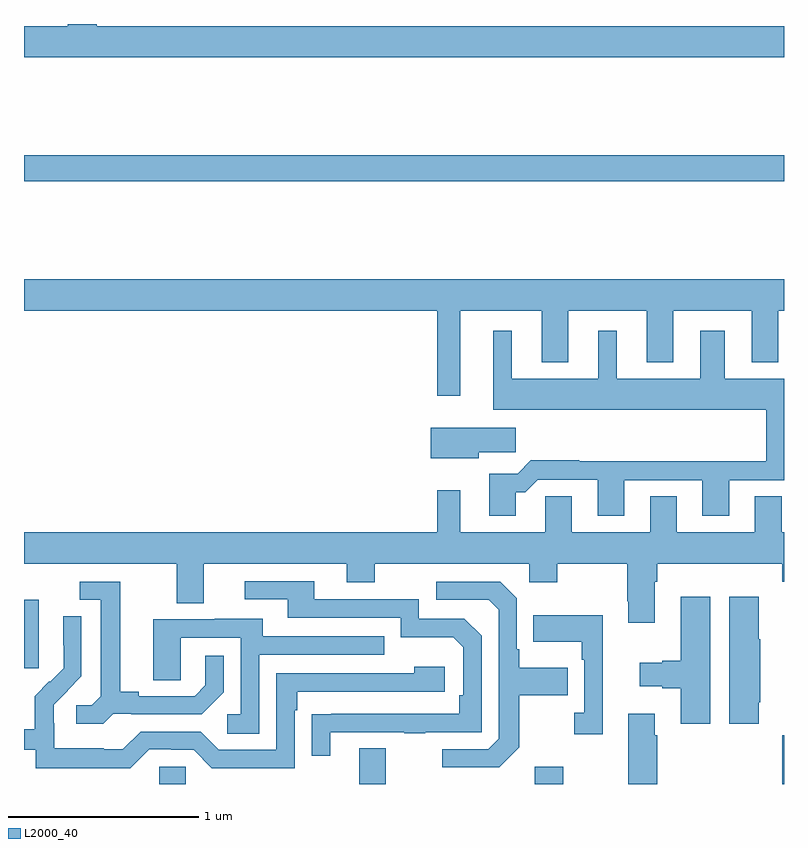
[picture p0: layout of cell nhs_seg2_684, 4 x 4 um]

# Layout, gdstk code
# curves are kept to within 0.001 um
import gdstk
lib = gdstk.Library(unit=1e-6, precision=1e-09)
def R(c, l, rs):  # rectangles x0, y0, x1, y1
    for r in rs: c.add(gdstk.rectangle(r[:2], r[2:], *l))
def P(c, l, *ps):  # polygons
    for p in ps: c.add(gdstk.Polygon(p, *l))
L2000_40 = (2000, 40)

nhs_seg2_684 = lib.new_cell('nhs_seg2_684')
R(nhs_seg2_684, L2000_40, [(145.713,655.8,145.851,655.89), (146.765,655.8,146.905,655.987), (147.689,655.8,147.837,655.891), (148.991,655.8,149,656.057), (145,656.409,145.078,656.77), (145,658.972,149,659.108)])
P(nhs_seg2_684, L2000_40, [(149,659.788),(145.382,659.788),(145.382,659.8),(145.229,659.8),(145.229,659.788),(145,659.788),(145,659.624),(149,659.624)],
  [(147.295,658.292),(147.725,658.292),(147.725,658.019),(147.865,658.019),(147.865,658.292),(148.277,658.292),(148.277,658.019),(148.417,658.019),(148.417,658.292),(148.829,658.292),(148.829,658.019),(148.969,658.019),(148.969,658.292),(149,658.292),(149,658.456),(145,658.456),(145,658.292),(147.174,658.292),(147.174,657.843),(147.295,657.843)],
  [(147.589,657.335),(147.638,657.335),(147.705,657.402),(148.019,657.402),(148.019,657.213),(148.159,657.213),(148.159,657.399),(148.571,657.399),(148.571,657.213),(148.711,657.213),(148.711,657.399),(149,657.399),(149,657.934),(148.687,657.934),(148.687,658.186),(148.559,658.186),(148.559,657.934),(148.12,657.934),(148.12,658.186),(148.022,658.186),(148.022,657.934),(147.568,657.934),(147.568,658.186),(147.47,658.186),(147.47,657.77),(148.907,657.77),(148.907,657.5),(147.923,657.5),(147.923,657.503),(147.668,657.503),(147.598,657.433),(147.449,657.433),(147.449,657.213),(147.589,657.213)],
  [(147.394,657.547),(147.589,657.547),(147.589,657.676),(147.14,657.676),(147.14,657.515),(147.394,657.515)],
  [(145,656.96),(145.805,656.96),(145.805,656.752),(145.945,656.752),(145.945,656.96),(146.699,656.96),(146.699,656.861),(146.847,656.861),(146.847,656.96),(147.66,656.96),(147.66,656.861),(147.807,656.861),(147.807,656.96),(148.174,656.96),(148.174,656.761),(148.181,656.761),(148.181,656.649),(148.321,656.649),(148.321,656.864),(148.334,656.864),(148.334,656.96),(148.991,656.96),(148.991,656.864),(149,656.864),(149,657.124),(148.987,657.124),(148.987,657.314),(148.847,657.314),(148.847,657.124),(148.435,657.124),(148.435,657.314),(148.295,657.314),(148.295,657.124),(147.883,657.124),(147.883,657.314),(147.744,657.314),(147.744,657.124),(147.295,657.124),(147.295,657.346),(147.174,657.346),(147.174,657.124),(145,657.124)],
  [(146.611,656.073),(147.001,656.073),(147.001,656.068),(147.113,656.068),(147.113,656.073),(147.408,656.073),(147.408,656.58),(147.318,656.67),(147.078,656.67),(147.078,656.772),(146.527,656.772),(146.527,656.868),(146.163,656.868),(146.163,656.772),(146.387,656.772),(146.387,656.676),(146.982,656.676),(146.982,656.573),(147.259,656.573),(147.312,656.52),(147.312,656.266),(147.292,656.266),(147.292,656.169),(146.515,656.168),(146.515,655.95),(146.611,655.95)],
  [(147.607,655.993),(147.607,656.266),(147.863,656.266),(147.863,656.413),(147.607,656.413),(147.607,656.509),(147.594,656.509),(147.594,656.778),(147.507,656.865),(147.171,656.865),(147.171,656.769),(147.447,656.769),(147.498,656.718),(147.498,656.037),(147.444,655.983),(147.201,655.983),(147.201,655.887),(147.501,655.887)],
  [(145.47,656.169),(145.564,656.169),(145.564,656.166),(145.936,656.166),(146.052,656.282),(146.052,656.476),(145.955,656.476),(145.955,656.319),(145.898,656.262),(145.603,656.262),(145.603,656.285),(145.507,656.285),(145.507,656.865),(145.293,656.865),(145.293,656.769),(145.403,656.769),(145.403,656.261),(145.356,656.214),(145.275,656.214),(145.275,656.117),(145.418,656.117)],
  [(148.867,656.23),(148.875,656.23),(148.875,656.561),(148.867,656.561),(148.867,656.785),(148.712,656.785),(148.712,656.118),(148.867,656.118)],
  [(148.612,656.785),(148.457,656.785),(148.457,656.45),(148.358,656.45),(148.358,656.437),(148.242,656.437),(148.242,656.315),(148.358,656.315),(148.358,656.303),(148.457,656.303),(148.457,656.118),(148.612,656.118)],
  [(148.046,656.689),(147.679,656.689),(147.679,656.549),(147.936,656.549),(147.936,656.453),(147.948,656.453),(147.948,656.174),(147.897,656.174),(147.897,656.061),(148.046,656.061)],
  [(145.659,655.983),(145.775,655.983),(145.775,655.98),(145.893,655.98),(145.989,655.884),(146.424,655.884),(146.424,656.189),(146.437,656.189),(146.437,656.286),(147.214,656.286),(147.214,656.416),(147.053,656.416),(147.053,656.382),(146.328,656.382),(146.328,655.98),(146.025,655.98),(145.929,656.076),(145.614,656.076),(145.521,655.983),(145.421,655.983),(145.421,655.987),(145.158,655.987),(145.158,656.121),(145.156,656.121),(145.156,656.218),(145.302,656.366),(145.302,656.684),(145.206,656.684),(145.206,656.53),(145.208,656.53),(145.208,656.408),(145.137,656.337),(145.134,656.34),(145.057,656.263),(145.057,656.089),(145,656.089),(145,655.98),(145.062,655.98),(145.062,655.883),(145.559,655.883)],
  [(146.238,656.481),(146.897,656.481),(146.897,656.577),(146.257,656.577),(146.257,656.671),(146.003,656.671),(146.003,656.667),(145.679,656.667),(145.679,656.347),(145.824,656.347),(145.824,656.571),(146.142,656.571),(146.142,656.166),(146.07,656.166),(146.07,656.065),(146.238,656.065)],
  [(148.334,656.057),(148.321,656.057),(148.321,656.17),(148.181,656.17),(148.181,655.8),(148.334,655.8)])

lib.write_gds('nhs_seg2_684.gds')
